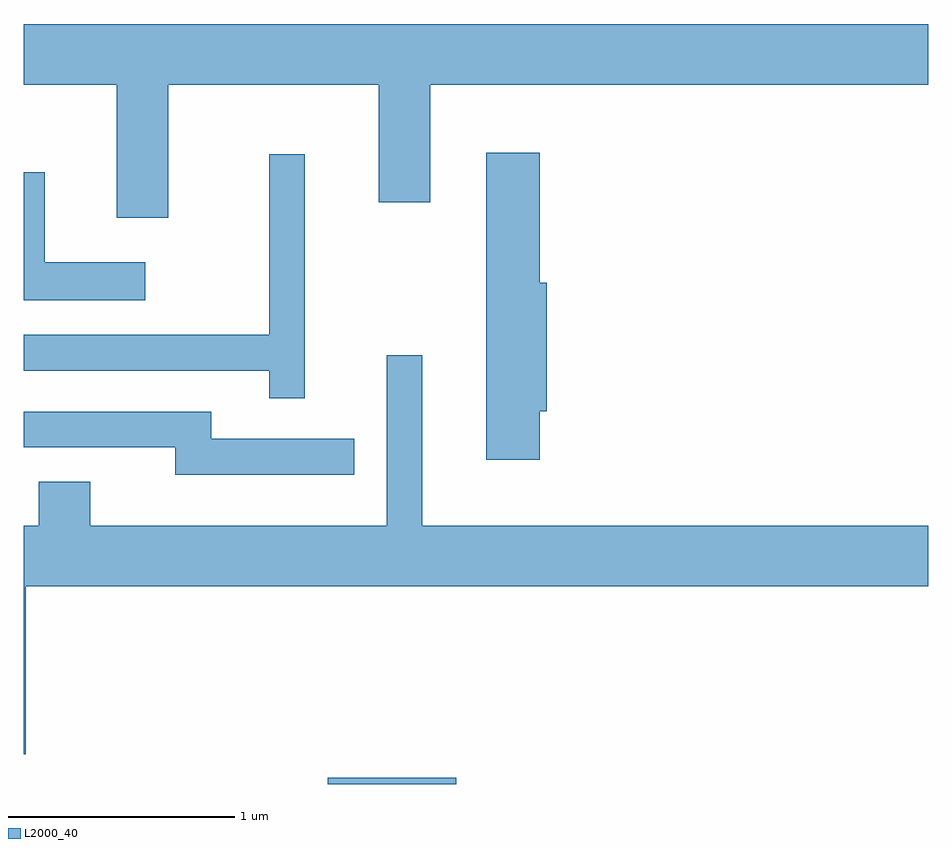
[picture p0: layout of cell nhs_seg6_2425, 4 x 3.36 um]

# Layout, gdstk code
import gdstk
lib = gdstk.Library(unit=1e-6, precision=1e-09)
def R(c, l, rs):  # rectangles x0, y0, x1, y1
    for r in rs: c.add(gdstk.rectangle(r[:2], r[2:], *l))
def P(c, l, *ps):  # polygons
    for p in ps: c.add(gdstk.Polygon(p, *l))
L2000_40 = (2000, 40)

nhs_seg6_2425 = lib.new_cell('nhs_seg6_2425')
R(nhs_seg6_2425, L2000_40, [(258.956,1660.162,259.524,1660.189)])
P(nhs_seg6_2425, L2000_40, [(258.249,1663.256),(259.181,1663.256),(259.181,1662.736),(259.409,1662.736),(259.409,1663.256),(261.611,1663.256),(261.611,1663.524),(257.611,1663.524),(257.611,1663.256),(258.021,1663.256),(258.021,1662.666),(258.249,1662.666)],
  [(259.894,1661.811),(259.924,1661.811),(259.924,1662.379),(259.894,1662.379),(259.894,1662.954),(259.656,1662.954),(259.656,1661.596),(259.894,1661.596)],
  [(258.854,1662.948),(258.696,1662.948),(258.696,1662.149),(257.611,1662.149),(257.611,1661.991),(258.696,1661.991),(258.696,1661.868),(258.854,1661.868)],
  [(258.147,1662.469),(257.704,1662.469),(257.704,1662.869),(257.611,1662.869),(257.611,1662.301),(258.147,1662.301)],
  [(257.619,1661.036),(261.611,1661.036),(261.611,1661.304),(259.374,1661.304),(259.374,1662.058),(259.216,1662.058),(259.216,1661.304),(257.904,1661.304),(257.904,1661.499),(257.676,1661.499),(257.676,1661.304),(257.611,1661.304),(257.611,1660.293),(257.619,1660.293)],
  [(259.073,1661.689),(258.439,1661.689),(258.439,1661.809),(257.611,1661.809),(257.611,1661.651),(258.281,1661.651),(258.281,1661.531),(259.073,1661.531)])

lib.write_gds('nhs_seg6_2425.gds')
